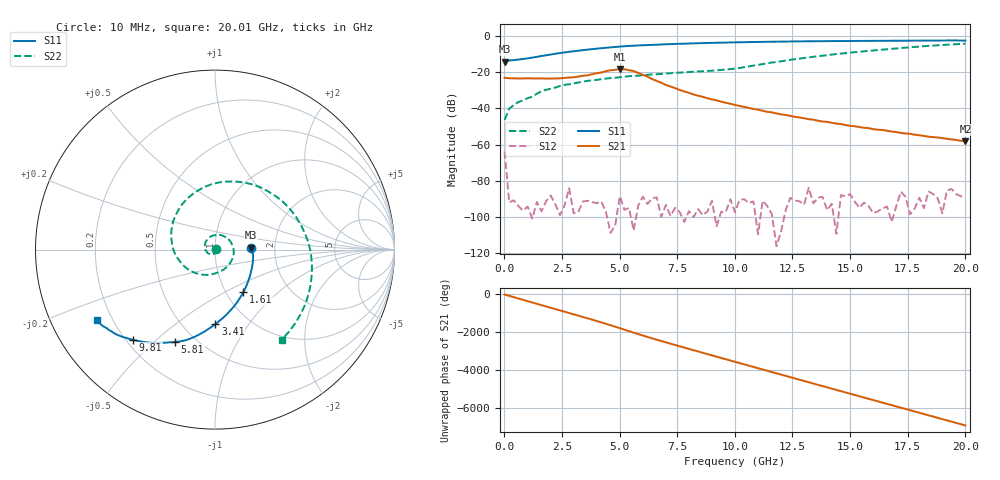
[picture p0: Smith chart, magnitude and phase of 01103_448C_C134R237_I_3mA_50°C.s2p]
!;Filter: kein Filter
!auto
!3/21/2019 9:27:07 AM
!3/21/2019 9:27:22 AM
!SP-Measurements Prober G4
!SP-Measurements Prober G4
!01103_448C
!134
!237
!12
!50
!-20
!0.00299959
!1.83
!0.38139174
!0.38139174
# Hz S  RI  R 50
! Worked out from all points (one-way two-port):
!   101 points, 10 MHz to 20.01 GHz, reference 50 ohm
!   highest |S21| = -18.08 dB at 5.01 GHz (marker M1); lowest = -58.2 dB at 20.01 GHz (marker M2)
!   lowest |S11| = -14.0 dB at 10 MHz (marker M3), VSWR 1.49, Z = 74.7 + j1.65 ohm
!   |S11| at or under -10 dB: start of sweep to 2.034 GHz
!   |S22| runs from -46.3 to -4.1 dB; largest |S21 - S12| = 0.12
!   S11 on the Smith chart (normalised r, x): 10 MHz: 1.49, +0.03; 1.61 GHz: 1.20, -0.62; 3.41 GHz: 0.71, -0.71; 5.81 GHz: 0.39, -0.59; 9.81 GHz: 0.23, -0.42; 20.01 GHz: 0.14, -0.27
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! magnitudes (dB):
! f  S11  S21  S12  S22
! 10 MHz  -14.0  -23.0  -63.9  -46.3
! 210 MHz  -13.4  -23.2  -92.1  -40.1
! 610 MHz  -12.9  -23.4  -94.2  -36.4
! 1.21 GHz  -11.8  -23.3  -101.1  -33.5
! 1.61 GHz  -10.9  -23.3  -97.1  -30.4
! 2.41 GHz  -9.3  -23.3  -99.2  -27.6
! 3.01 GHz  -8.2  -22.7  -98.2  -26.1
! 3.41 GHz  -7.6  -21.8  -91.6  -25.1
! 4.61 GHz  -6.1  -18.8  -109.0  -23.1
! 5.01 GHz  -5.7  -18.1  -88.7  -22.7
! 5.61 GHz  -5.2  -19.2  -107.7  -21.9
! 5.81 GHz  -5.0  -20.3  -93.8  -21.9
! 6.81 GHz  -4.5  -25.7  -100.2  -20.8
! 7.61 GHz  -4.1  -29.7  -97.5  -20.1
! 8.21 GHz  -3.9  -32.2  -100.3  -19.6
! 9.81 GHz  -3.4  -37.4  -90.4  -18.2
! 10.01 GHz  -3.3  -38.0  -97.5  -17.9
! 12.01 GHz  -2.9  -43.3  -108.3  -13.8
! 13.41 GHz  -2.7  -46.2  -92.6  -11.3
! 15.01 GHz  -2.6  -49.6  -87.6  -9.0
! 16.81 GHz  -2.4  -52.8  -102.9  -6.9
! 20.01 GHz  -2.3  -58.2  -89.0  -4.1
